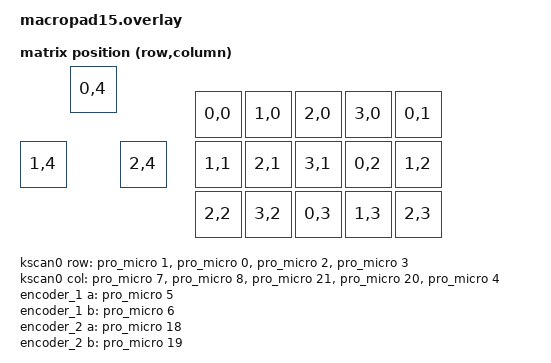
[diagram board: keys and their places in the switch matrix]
/*
 * Macropad 15 phím + 3 encoder EC11 + OLED SSD1306 - module Pro Micro RP2040
 * (bản ZMK, khớp bản Vial "macropad15oledtest")
 *
 * Bố cục vật lý (15 phím 3x5 bên phải, 3 encoder bên trái):
 *
 *            (ENC1)     P0  P1  P2  P3  P4
 *       (ENC2)  (ENC3)  P5  P6  P7  P8  P9
 *                       P10 P11 P12 P13 P14
 *
 *   P(n) nằm ở hàng n%4, cột n/4. ENC1 to (trên), ENC2 nhỏ (trái dưới), ENC3 nhỏ (phải dưới);
 *   mỗi encoder có nút nhấn.
 *
 * Ma trận 5 cột (C0-C4) x 4 hàng (R0-R3), diode ROW2COL
 * (hàng -> công tắc -> anode diode, CATHODE (đầu có vạch) về đường CỘT). Mỗi phím 1 diode.
 *   - R0..R3 là output (ZMK quét hàng), C0..C4 là input pull-down.
 *   - 15 phím: P(n) = hàng n%4, cột n/4  (P0=R0C0, P1=R1C0, ... P14=R2C3). R3C3 để trống.
 *   - Nút nhấn encoder: ENC1 -> R0C4, ENC2 -> R1C4, ENC3 -> R2C4.
 *
 * Gán chân (nhãn Pro Micro -> GPIO RP2040):
 *   C0 D7  GP7      R0 D1 GP1       ENC1 A D5  GP5   B D6  GP6
 *   C1 D8  GP8      R1 D0 GP0       ENC2 A D18 GP26  B D19 GP27
 *   C2 D21 GP29     R2 D2 GP2       ENC3 A D15 GP22  B D16 GP23
 *   C3 D20 GP28     R3 D3 GP3
 *   C4 D4  GP4                      OLED SDA D14 GP20, SCL D10 GP21 (I2C0)
 */

#include <dt-bindings/gpio/gpio.h>
#include <dt-bindings/zmk/matrix_transform.h>
#include <physical_layouts.dtsi>
#include <zephyr/dt-bindings/pinctrl/rpi-pico-rp2040-pinctrl.h>
#include <zephyr/dt-bindings/i2c/i2c.h>

/* I2C1 (GP2/GP3) bị ma trận dùng -> tắt. I2C0 dùng cho OLED trên GP20/GP21. */
&i2c1 {
    status = "disabled";
};

&pinctrl {
    i2c0_oled: i2c0_oled {
        group1 {
            pinmux = <I2C0_SDA_P20>, <I2C0_SCL_P21>;
            input-enable;
            input-schmitt-enable;
        };
    };
};

&i2c0 {
    status = "okay";
    pinctrl-0 = <&i2c0_oled>;
    pinctrl-names = "default";
    clock-frequency = <I2C_BITRATE_FAST>;

    /* SSD1306 128x64. Màn 128x32: height = <32>, multiplex-ratio = <31>, thêm "com-sequential"
       và bỏ "com-invdir" nếu hình bị lệch. */
    oled: ssd1306@3c {
        compatible = "solomon,ssd1306fb";
        reg = <0x3c>;
        width = <128>;
        height = <64>;
        segment-offset = <0>;
        page-offset = <0>;
        display-offset = <0>;
        multiplex-ratio = <63>;
        segment-remap;
        com-invdir;
        prechargep = <0x22>;
    };
};

/ {
    chosen {
        zmk,kscan = &kscan0;
        zmk,physical-layout = &physical_layout0;
        zephyr,display = &oled;
    };

    kscan0: kscan {
        compatible = "zmk,kscan-gpio-matrix";
        diode-direction = "row2col";
        debounce-press-ms = <5>;
        debounce-release-ms = <5>;

        /* R0 .. R3 (output) */
        row-gpios
            = <&pro_micro 1 GPIO_ACTIVE_HIGH>   /* R0 D1 GP1 */
            , <&pro_micro 0 GPIO_ACTIVE_HIGH>   /* R1 D0 GP0 */
            , <&pro_micro 2 GPIO_ACTIVE_HIGH>   /* R2 D2 GP2 */
            , <&pro_micro 3 GPIO_ACTIVE_HIGH>   /* R3 D3 GP3 */
            ;

        /* C0 .. C4 (input pull-down) */
        col-gpios
            = <&pro_micro 7  (GPIO_ACTIVE_HIGH | GPIO_PULL_DOWN)>  /* C0 D7  GP7  */
            , <&pro_micro 8  (GPIO_ACTIVE_HIGH | GPIO_PULL_DOWN)>  /* C1 D8  GP8  */
            , <&pro_micro 21 (GPIO_ACTIVE_HIGH | GPIO_PULL_DOWN)>  /* C2 D21 GP29 */
            , <&pro_micro 20 (GPIO_ACTIVE_HIGH | GPIO_PULL_DOWN)>  /* C3 D20 GP28 */
            , <&pro_micro 4  (GPIO_ACTIVE_HIGH | GPIO_PULL_DOWN)>  /* C4 D4  GP4  */
            ;
    };

    /*
     * Vị trí phím (position 0..17) trong keymap:
     *   0..14  : P0..P14 (hàng trên -> dưới, trái -> phải theo bố cục vật lý)
     *   15..17 : nút nhấn ENC1, ENC2, ENC3
     */
    default_transform: keymap_transform_0 {
        compatible = "zmk,matrix-transform";
        columns = <5>;
        rows = <4>;
        map = <
            RC(0,0) RC(1,0) RC(2,0) RC(3,0) RC(0,1)   /* P0  P1  P2  P3  P4  */
            RC(1,1) RC(2,1) RC(3,1) RC(0,2) RC(1,2)   /* P5  P6  P7  P8  P9  */
            RC(2,2) RC(3,2) RC(0,3) RC(1,3) RC(2,3)   /* P10 P11 P12 P13 P14 */
            RC(0,4) RC(1,4) RC(2,4)                   /* nút nhấn ENC1 ENC2 ENC3 */
        >;
    };

    /* Physical layout cho ZMK Studio (1/100 phím). Thứ tự TRÙNG với map ở trên. */
    physical_layout0: physical_layout_0 {
        compatible = "zmk,physical-layout";
        display-name = "Macropad15";
        transform = <&default_transform>;
        kscan = <&kscan0>;

        keys  //                     w    h    x    y    rot  rx   ry
            = <&key_physical_attrs 100 100  350   50      0   0    0>  /* P0  */
            , <&key_physical_attrs 100 100  450   50      0   0    0>  /* P1  */
            , <&key_physical_attrs 100 100  550   50      0   0    0>  /* P2  */
            , <&key_physical_attrs 100 100  650   50      0   0    0>  /* P3  */
            , <&key_physical_attrs 100 100  750   50      0   0    0>  /* P4  */

            , <&key_physical_attrs 100 100  350  150      0   0    0>  /* P5  */
            , <&key_physical_attrs 100 100  450  150      0   0    0>  /* P6  */
            , <&key_physical_attrs 100 100  550  150      0   0    0>  /* P7  */
            , <&key_physical_attrs 100 100  650  150      0   0    0>  /* P8  */
            , <&key_physical_attrs 100 100  750  150      0   0    0>  /* P9  */

            , <&key_physical_attrs 100 100  350  250      0   0    0>  /* P10 */
            , <&key_physical_attrs 100 100  450  250      0   0    0>  /* P11 */
            , <&key_physical_attrs 100 100  550  250      0   0    0>  /* P12 */
            , <&key_physical_attrs 100 100  650  250      0   0    0>  /* P13 */
            , <&key_physical_attrs 100 100  750  250      0   0    0>  /* P14 */

            , <&key_physical_attrs 100 100  100    0      0   0    0>  /* nút nhấn ENC1 (to, trên) */
            , <&key_physical_attrs 100 100    0  150      0   0    0>  /* nút nhấn ENC2 (nhỏ, trái) */
            , <&key_physical_attrs 100 100  200  150      0   0    0>  /* nút nhấn ENC3 (nhỏ, phải) */
            ;
    };

    /*
     * 3 encoder EC11. Thứ tự trong "sensors" = thứ tự cặp binding trong sensor-bindings
     * của keymap (ENC1, ENC2, ENC3). Xoay ngược chiều: đổi a-gpios/b-gpios hoặc CW/CCW trong keymap.
     * resolution = 4 cho loại 4 xung / nấc (phổ biến). 1 nấc nhảy 2 lần thì đặt 2.
     */
    encoder_1: encoder_1 {
        compatible = "alps,ec11";
        a-gpios = <&pro_micro 5 (GPIO_ACTIVE_HIGH | GPIO_PULL_UP)>;   /* D5 GP5 */
        b-gpios = <&pro_micro 6 (GPIO_ACTIVE_HIGH | GPIO_PULL_UP)>;   /* D6 GP6 */
        resolution = <4>;
        status = "okay";
    };

    encoder_2: encoder_2 {
        compatible = "alps,ec11";
        a-gpios = <&pro_micro 18 (GPIO_ACTIVE_HIGH | GPIO_PULL_UP)>;  /* D18 GP26 */
        b-gpios = <&pro_micro 19 (GPIO_ACTIVE_HIGH | GPIO_PULL_UP)>;  /* D19 GP27 */
        resolution = <4>;
        status = "okay";
    };

    encoder_3: encoder_3 {
        compatible = "alps,ec11";
        a-gpios = <&pro_micro 15 (GPIO_ACTIVE_HIGH | GPIO_PULL_UP)>;  /* D15 GP22 */
        b-gpios = <&pro_micro 16 (GPIO_ACTIVE_HIGH | GPIO_PULL_UP)>;  /* D16 GP23 */
        resolution = <4>;
        status = "okay";
    };

    sensors: sensors {
        compatible = "zmk,keymap-sensors";
        sensors = <&encoder_1 &encoder_2 &encoder_3>;
        triggers-per-rotation = <20>;
    };
};
